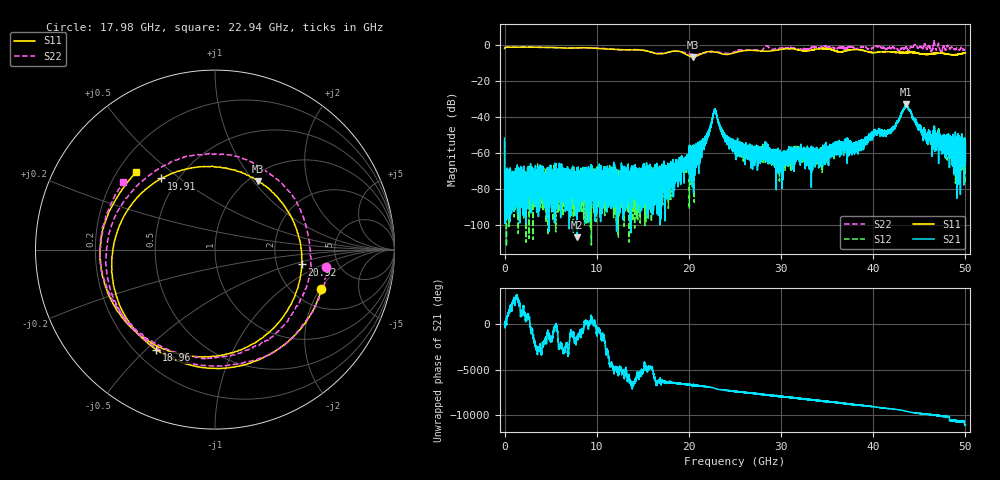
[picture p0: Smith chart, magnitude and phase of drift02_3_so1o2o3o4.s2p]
!Created with skrf (http://scikit-rf.org).
# Hz S RI R 50.0
!freq ReS11 ImS11 ReS21 ImS21 ReS12 ImS12 ReS22 ImS22
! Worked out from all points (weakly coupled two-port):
!   10001 points, 300 kHz to 50 GHz, reference 50 ohm
!   highest |S21| = -32.95 dB at 43.58 GHz (marker M1); lowest = -107.0 dB at 7.87 GHz (marker M2)
!   lowest |S11| = -6.9 dB at 20.41 GHz (marker M3), VSWR 2.63, Z = 55 + j52.5 ohm
!   |S11| at or under -10 dB: nowhere
!   |S22| runs from -5.7 to 2.3 dB; largest |S21 - S12| = 0.0038
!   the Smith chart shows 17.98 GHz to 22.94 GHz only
!   S11 on the Smith chart (normalised r, x): 17.98 GHz: 2.80, -2.05; 18.96 GHz: 0.28, -0.54; 19.91 GHz: 0.41, +0.43; 20.92 GHz: 2.78, -0.61; 22.94 GHz: 0.28, +0.38
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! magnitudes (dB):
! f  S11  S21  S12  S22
! 300 kHz  -2.1  -52.0  -54.3  -2.1
! 255.3 MHz  -1.4  -83.8  -84.8  -1.4
! 7.87 GHz  -1.8  -107.0  -91.5  -1.9
! 8.335 GHz  -1.7  -75.6  -79.4  -1.9
! 16.67 GHz  -5.2  -74.7  -76.9  -4.8
! 17.98 GHz  -4.0  -70.5  -72.2  -4.1
! 18.96 GHz  -3.8  -66.5  -67.8  -3.9
! 19.91 GHz  -6.1  -66.7  -62.2  -5.2
! 20.41 GHz  -6.9  -61.3  -66.2  -5.5
! 20.92 GHz  -6.2  -63.2  -58.9  -5.6
! 22.94 GHz  -4.2  -37.6  -37.4  -4.0
! 23.78 GHz  -5.3  -49.7  -50.5  -4.7
! 25 GHz  -4.5  -53.3  -55.9  -3.9
! 29.99 GHz  -2.7  -62.6  -60.0  -2.1
! 33.34 GHz  -3.0  -58.9  -62.7  -1.6
! 38.51 GHz  -2.9  -57.6  -56.8  -2.2
! 40.31 GHz  -4.4  -48.5  -49.4  -0.8
! 41.67 GHz  -4.0  -47.6  -48.0  -1.9
! 43.58 GHz  -4.7  -33.0  -33.6  -1.7
! 45.68 GHz  -5.5  -49.9  -52.3  -0.7
! 49.6 GHz  -5.0  -66.1  -57.2  -1.5
! 50 GHz  -4.7  -53.2  -55.9  -2.6
